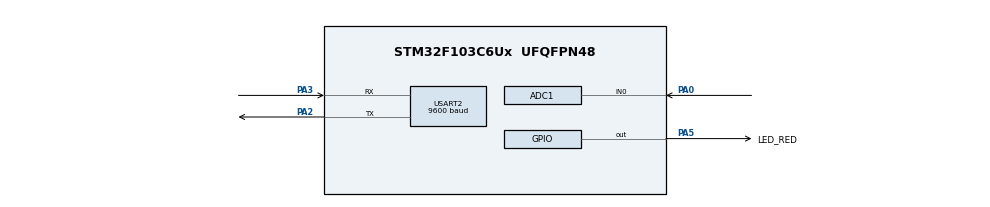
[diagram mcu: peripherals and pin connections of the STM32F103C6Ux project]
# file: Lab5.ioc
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ADC1.Channel-0\#ChannelRegularConversion=ADC_CHANNEL_0
ADC1.ContinuousConvMode=ENABLE
ADC1.NbrOfConversionFlag=1
ADC1.Rank-0\#ChannelRegularConversion=1
ADC1.SamplingTime-0\#ChannelRegularConversion=ADC_SAMPLETIME_1CYCLE_5
ADC1.master=1
Mcu.Family=STM32F1
Mcu.Name=STM32F103C6Ux
Mcu.Package=UFQFPN48
NVIC.PriorityGroup=NVIC_PRIORITYGROUP_4
NVIC.TIM2_IRQn=true\:0\:0\:false\:false\:true\:true\:true
NVIC.USART2_IRQn=true\:0\:0\:false\:false\:true\:true\:true
PA0-WKUP.Signal=ADCx_IN0
PA2.Mode=Asynchronous
PA2.Signal=USART2_TX
PA3.Mode=Asynchronous
PA3.Signal=USART2_RX
PA5.GPIO_Label=LED_RED
PA5.Signal=GPIO_Output
ProjectManager.HeapSize=0x200
ProjectManager.StackSize=0x400
ProjectManager.TargetToolchain=STM32CubeIDE
RCC.APB1Freq_Value=8000000
RCC.APB2Freq_Value=8000000
SH.ADCx_IN0.0=ADC1_IN0,IN0
TIM2.Period=9
TIM2.Prescaler=7999
USART2.BaudRate=9600
USART2.VirtualMode=VM_ASYNC
VP_SYS_VS_ND.Mode=No_Debug
VP_TIM2_VS_ClockSourceINT.Mode=Internal
board=custom

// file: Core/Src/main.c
/* USER CODE BEGIN Header */
/**
  ******************************************************************************
  * @file           : main.c
  * @brief          : Main program body
  ******************************************************************************
  * @attention
  *
  * <h2><center>&copy; Copyright (c) 2022 STMicroelectronics.
  * All rights reserved.</center></h2>
  *
  * This software component is licensed by ST under BSD 3-Clause license,
  * the "License"; You may not use this file except in compliance with the
  * License. You may obtain a copy of the License at:
  *                        opensource.org/licenses/BSD-3-Clause
  *
  ******************************************************************************
  */
/* USER CODE END Header */
#include "main.h"

/* USER CODE BEGIN Includes */
#include "global.h"
#include <stdio.h>
#include "uart_communicate.h"
#include "software_timer.h"
/* USER CODE END Includes */

ADC_HandleTypeDef hadc1;

TIM_HandleTypeDef htim2;

UART_HandleTypeDef huart2;

void SystemClock_Config(void);
static void MX_GPIO_Init(void);
static void MX_TIM2_Init(void);
static void MX_ADC1_Init(void);
static void MX_USART2_UART_Init(void);

/* USER CODE BEGIN 0 */
# define MAX_BUFFER_SIZE 30
uint8_t temp = 0;
char str[10];
uint8_t buffer[MAX_BUFFER_SIZE] ;
uint8_t index_buffer = 0;
uint8_t buffer_flag = 0;
uint32_t ADC_value = 0;
int mode = 0;
void HAL_UART_RxCpltCallback ( UART_HandleTypeDef * huart ) {
	if(huart-> Instance == USART2){
		HAL_UART_Transmit (& huart2 , &temp , 1 , 50) ;
		buffer[index_buffer++] = temp;
		if(index_buffer == 30) index_buffer = 0;
		buffer_flag = 1;
		HAL_UART_Receive_IT(&huart2, &temp, 1);
	}
}
void command_parser_fsm(){
	switch (mode) {
		case 0:
			if(buffer[index_buffer - 1] == 'R')mode = 1;
			else if(buffer[index_buffer - 1] == 'O')mode = 3;
			else mode = 0;
			break;
		case 1:
			if(buffer[index_buffer - 1] == 'T')mode = 2;
			else mode = 0;
			break;
		case 2:
			if(buffer[index_buffer - 1] == 'X'){
				command_flag = 1;
				command_data = RTX;
				setTimer0(1000);
			}
			mode = 0;
			break;
		case 3:
			if(buffer[index_buffer - 1] == 'K'){
				command_flag = 1;
				command_data = OK;
			}
			mode = 0;
			break;
		default:
			break;
	}
}
void uart_communiation_fsm(){
	if(command_flag == 1){
		switch (command_data) {
			case RTX:
				if(timer0_flag == 1){
					HAL_GPIO_TogglePin(LED_RED_GPIO_Port, LED_RED_Pin);
					ADC_value = HAL_ADC_GetValue(&hadc1);
					HAL_UART_Transmit(&huart2 , (void *)str , sprintf (str,"\r\n ADC:%ld ", ADC_value),1000);
					setTimer0(3000);
				}
				break;
			case OK:
				command_flag = 0;
				break;
			default:
				break;
		}
	}
}
/* USER CODE END 0 */

int main(void)
{
  /* USER CODE BEGIN 1 */
//	for(int i=0; i<20; i++)
//	 {
//	   data[i] = 'a';
//	 }
  /* USER CODE END 1 */

  /* MCU Configuration--------------------------------------------------------*/

  /* Reset of all peripherals, Initializes the Flash interface and the Systick. */
  HAL_Init();

  /* Configure the system clock */
  SystemClock_Config();

  /* Initialize all configured peripherals */
  MX_GPIO_Init();
  MX_TIM2_Init();
  MX_ADC1_Init();
  MX_USART2_UART_Init();
  /* USER CODE BEGIN 2 */
  HAL_TIM_Base_Start_IT(&htim2);
  HAL_UART_Receive_IT(&huart2 , &temp , 1) ;
  /* USER CODE END 2 */

  /* Infinite loop */
  /* USER CODE BEGIN WHILE */
  HAL_ADC_Start(&hadc1);
  while (1)
  {
	  if( buffer_flag == 1) {
	  	command_parser_fsm () ;
	  	buffer_flag = 0;
	  }
	  uart_communiation_fsm () ;
    /* USER CODE END WHILE */

  }
}

void SystemClock_Config(void)
{
  RCC_OscInitTypeDef RCC_OscInitStruct = {0};
  RCC_ClkInitTypeDef RCC_ClkInitStruct = {0};
  RCC_PeriphCLKInitTypeDef PeriphClkInit = {0};

  /** Initializes the RCC Oscillators according to the specified parameters
  * in the RCC_OscInitTypeDef structure.
  */
  RCC_OscInitStruct.OscillatorType = RCC_OSCILLATORTYPE_HSI;
  RCC_OscInitStruct.HSIState = RCC_HSI_ON;
  RCC_OscInitStruct.HSICalibrationValue = RCC_HSICALIBRATION_DEFAULT;
  RCC_OscInitStruct.PLL.PLLState = RCC_PLL_NONE;
  if (HAL_RCC_OscConfig(&RCC_OscInitStruct) != HAL_OK)
  {
    Error_Handler();
  }
  /** Initializes the CPU, AHB and APB buses clocks
  */
  RCC_ClkInitStruct.ClockType = RCC_CLOCKTYPE_HCLK|RCC_CLOCKTYPE_SYSCLK
                              |RCC_CLOCKTYPE_PCLK1|RCC_CLOCKTYPE_PCLK2;
  RCC_ClkInitStruct.SYSCLKSource = RCC_SYSCLKSOURCE_HSI;
  RCC_ClkInitStruct.AHBCLKDivider = RCC_SYSCLK_DIV1;
  RCC_ClkInitStruct.APB1CLKDivider = RCC_HCLK_DIV1;
  RCC_ClkInitStruct.APB2CLKDivider = RCC_HCLK_DIV1;

  if (HAL_RCC_ClockConfig(&RCC_ClkInitStruct, FLASH_LATENCY_0) != HAL_OK)
  {
    Error_Handler();
  }
  PeriphClkInit.PeriphClockSelection = RCC_PERIPHCLK_ADC;
  PeriphClkInit.AdcClockSelection = RCC_ADCPCLK2_DIV2;
  if (HAL_RCCEx_PeriphCLKConfig(&PeriphClkInit) != HAL_OK)
  {
    Error_Handler();
  }
}

static void MX_ADC1_Init(void)
{

  ADC_ChannelConfTypeDef sConfig = {0};

  /** Common config
  */
  hadc1.Instance = ADC1;
  hadc1.Init.ScanConvMode = ADC_SCAN_DISABLE;
  hadc1.Init.ContinuousConvMode = ENABLE;
  hadc1.Init.DiscontinuousConvMode = DISABLE;
  hadc1.Init.ExternalTrigConv = ADC_SOFTWARE_START;
  hadc1.Init.DataAlign = ADC_DATAALIGN_RIGHT;
  hadc1.Init.NbrOfConversion = 1;
  if (HAL_ADC_Init(&hadc1) != HAL_OK)
  {
    Error_Handler();
  }
  /** Configure Regular Channel
  */
  sConfig.Channel = ADC_CHANNEL_0;
  sConfig.Rank = ADC_REGULAR_RANK_1;
  sConfig.SamplingTime = ADC_SAMPLETIME_1CYCLE_5;
  if (HAL_ADC_ConfigChannel(&hadc1, &sConfig) != HAL_OK)
  {
    Error_Handler();
  }

}

static void MX_TIM2_Init(void)
{

  TIM_ClockConfigTypeDef sClockSourceConfig = {0};
  TIM_MasterConfigTypeDef sMasterConfig = {0};

  htim2.Instance = TIM2;
  htim2.Init.Prescaler = 7999;
  htim2.Init.CounterMode = TIM_COUNTERMODE_UP;
  htim2.Init.Period = 9;
  htim2.Init.ClockDivision = TIM_CLOCKDIVISION_DIV1;
  htim2.Init.AutoReloadPreload = TIM_AUTORELOAD_PRELOAD_DISABLE;
  if (HAL_TIM_Base_Init(&htim2) != HAL_OK)
  {
    Error_Handler();
  }
  sClockSourceConfig.ClockSource = TIM_CLOCKSOURCE_INTERNAL;
  if (HAL_TIM_ConfigClockSource(&htim2, &sClockSourceConfig) != HAL_OK)
  {
    Error_Handler();
  }
  sMasterConfig.MasterOutputTrigger = TIM_TRGO_RESET;
  sMasterConfig.MasterSlaveMode = TIM_MASTERSLAVEMODE_DISABLE;
  if (HAL_TIMEx_MasterConfigSynchronization(&htim2, &sMasterConfig) != HAL_OK)
  {
    Error_Handler();
  }

}

static void MX_USART2_UART_Init(void)
{

  huart2.Instance = USART2;
  huart2.Init.BaudRate = 9600;
  huart2.Init.WordLength = UART_WORDLENGTH_8B;
  huart2.Init.StopBits = UART_STOPBITS_1;
  huart2.Init.Parity = UART_PARITY_NONE;
  huart2.Init.Mode = UART_MODE_TX_RX;
  huart2.Init.HwFlowCtl = UART_HWCONTROL_NONE;
  huart2.Init.OverSampling = UART_OVERSAMPLING_16;
  if (HAL_UART_Init(&huart2) != HAL_OK)
  {
    Error_Handler();
  }

}

static void MX_GPIO_Init(void)
{
  GPIO_InitTypeDef GPIO_InitStruct = {0};

  /* GPIO Ports Clock Enable */
  __HAL_RCC_GPIOA_CLK_ENABLE();

  /*Configure GPIO pin Output Level */
  HAL_GPIO_WritePin(LED_RED_GPIO_Port, LED_RED_Pin, GPIO_PIN_RESET);

  /*Configure GPIO pin : LED_RED_Pin */
  GPIO_InitStruct.Pin = LED_RED_Pin;
  GPIO_InitStruct.Mode = GPIO_MODE_OUTPUT_PP;
  GPIO_InitStruct.Pull = GPIO_NOPULL;
  GPIO_InitStruct.Speed = GPIO_SPEED_FREQ_LOW;
  HAL_GPIO_Init(LED_RED_GPIO_Port, &GPIO_InitStruct);

}

/* USER CODE BEGIN 4 */
void HAL_TIM_PeriodElapsedCallback ( TIM_HandleTypeDef * htim )
{

	timerRun();

}
/* USER CODE END 4 */

void Error_Handler(void)
{
  __disable_irq();
  while (1)
  {
  }
}

/************************ (C) COPYRIGHT STMicroelectronics *****END OF FILE****/
